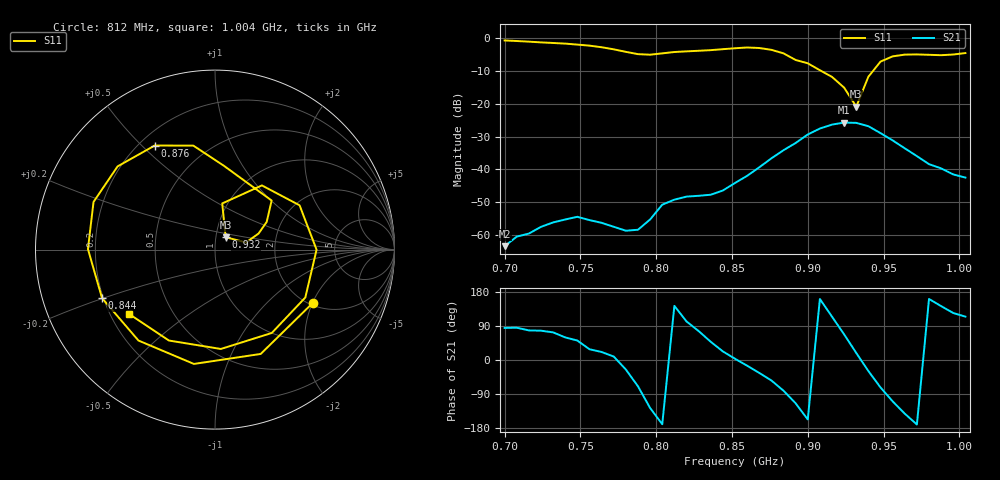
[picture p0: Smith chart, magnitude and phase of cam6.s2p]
# Hz S RI R 50
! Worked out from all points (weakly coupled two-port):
!   39 points, 700 MHz to 1.004 GHz, reference 50 ohm
!   highest |S21| = -25.68 dB at 924 MHz (marker M1); lowest = -63.4 dB at 700 MHz (marker M2)
!   lowest |S11| = -20.8 dB at 932 MHz (marker M3), VSWR 1.20, Z = 55.7 + j7.78 ohm
!   |S11| at or under -10 dB: 909.2 MHz to 942.9 MHz (33.78 MHz wide, 3.65 % of centre)
!   S12 and S22 are empty: the file has one direction only
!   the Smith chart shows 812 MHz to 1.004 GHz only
!   S11 on the Smith chart (normalised r, x): 812 MHz: 2.07, -2.01; 844 MHz: 0.19, -0.20; 876 MHz: 0.26, +0.55; 932 MHz: 1.11, +0.16; 1.004 GHz: 0.28, -0.31
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7e8  0.765 0.5301  6.33e-05 0.000673  0 0  0 0
7.24e8  0.8296 -0.2612  0.000292 0.0013  0 0  0 0
7.4e8  0.4447 -0.704  0.000874 0.00149  0 0  0 0
7.56e8  -0.1971 -0.7498  0.00149 0.000803  0 0  0 0
7.72e8  -0.6546 -0.19  0.00132 0.000211  0 0  0 0
7.8e8  -0.579 0.231  0.00105 -0.000494  0 0  0 0
7.88e8  -0.2233 0.5302  0.000421 -0.00113  0 0  0 0
7.96e8  0.2547 0.5036  -0.00103 -0.00138  0 0  0 0
8.04e8  0.5718 0.1509  -0.00286 -0.000529  0 0  0 0
8.12e8  0.544 -0.2978  -0.00276 0.0021  0 0  0 0
8.28e8  -0.1175 -0.637  0.000935 0.00386  0 0  0 0
8.44e8  -0.6294 -0.2702  0.00441 0.00184  0 0  0 0
8.52e8  -0.7079 0.00296  0.00622 0.000356  0 0  0 0
8.76e8  -0.3358 0.5799  0.00869 -0.012  0 0  0 0
9e8  0.3156 0.2734  -0.0314 -0.0134  0 0  0 0
9.08e8  0.2882 0.1547  -0.0398 0.0138  0 0  0 0
9.24e8  0.1728 0.0395  0.0198 0.0481  0 0  0 0
9.32e8  0.0593 0.0692  0.0488 0.0163  0 0  0 0
9.4e8  0.0403 0.2572  0.04 -0.0223  0 0  0 0
9.56e8  0.4713 0.2467  -0.00909 -0.0263  0 0  0 0
9.8e8  0.3165 -0.4644  -0.0114 0.00392  0 0  0 0
1.004e9  -0.4774 -0.3594  -0.00312 0.00685  0 0  0 0
